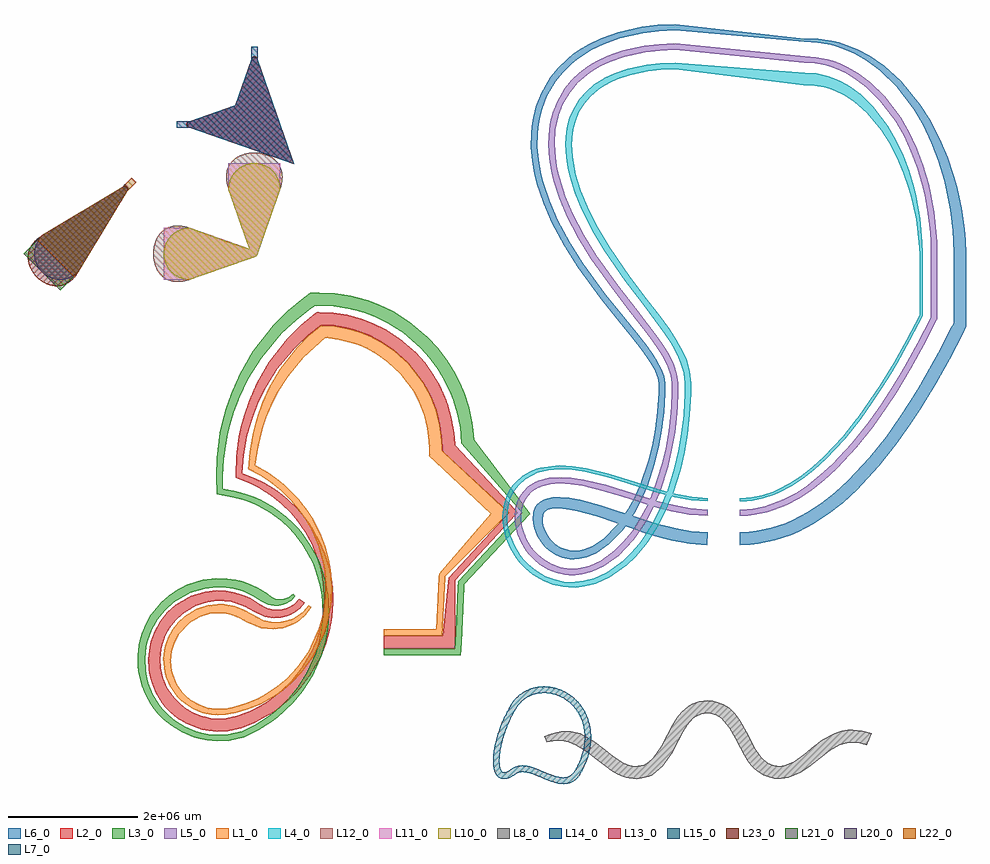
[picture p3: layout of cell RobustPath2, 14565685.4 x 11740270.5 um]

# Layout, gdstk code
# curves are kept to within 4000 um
import gdstk
lib = gdstk.Library(unit=1e-6, precision=1e-07)
def P(c, l, *ps):  # polygons
    for p in ps: c.add(gdstk.Polygon(p, *l))
L1_0 = (1, 0)
L2_0 = (2, 0)
L3_0 = (3, 0)
L4_0 = (4, 0)
L5_0 = (5, 0)
L6_0 = (6, 0)
L7_0 = (7, 0)
L8_0 = (8, 0)
L10_0 = (10, 0)
L11_0 = (11, 0)
L12_0 = (12, 0)
L13_0 = (13, 0)
L14_0 = (14, 0)
L15_0 = (15, 0)
L20_0 = (20, 0)
L21_0 = (21, 0)
L22_0 = (22, 0)
L23_0 = (23, 0)

robustpath2 = lib.new_cell('RobustPath2')
P(robustpath2, L1_0, [(-1161786,567427.8),(-1247763.8,471561.8),(-1351550.6,395357.3),(-1408772.1,365671.4),(-1484095.1,337105.4),(-1582381.6,315394.9),(-1708039.6,310864.1),(-1862214.5,340618.2),(-2036608.8,430085.3),(-2160695.3,503086),(-2298094.7,555541.9),(-2369536,572886.6),(-2460396,585996.4),(-2574958.1,588826.7),(-2716862.1,571205.7),(-2886750.3,517002),(-3077290,402664.9),(-3178920.2,308058.1),(-3263958.9,198557),(-3330262.4,77029.4),(-3376176.5,-53355),(-3391114.8,-120815.8),(-3404512.1,-258087.5),(-3395762.5,-395527.5),(-3359832.2,-545938.4),(-3305689.1,-672091.8),(-3232149.3,-787770.7),(-3188698.4,-840746.9),(-3128683.2,-901727.6),(-3045679.8,-968889.5),(-2933821.3,-1037448.8),(-2812815.4,-1087954.3),(-2749752.8,-1106060),(-2669269.6,-1121766.4),(-2567152.9,-1130380.4),(-2439267.5,-1123780.6),(-2283192.9,-1088682.4),(-2100143.4,-1036270.6),(-1918093.1,-962758.5),(-1721994.2,-856770.4),(-1592753,-769174.2),(-1440874.2,-644317.7),(-1268713.4,-465785.8),(-1085818.6,-211143.7),(-915721.3,147908.2),(-857718.4,340625.8),(-818977.5,539718.9),(-807054.9,641054.3),(-798448.6,846056.4),(-810471.3,1052459.5),(-848884.7,1283739.4),(-905114.4,1486165.1),(-981863.3,1683421.1),(-1092129.6,1896556.4),(-1183107.3,2037624.9),(-1316013.1,2208182.1),(-1466378.9,2365743.6),(-1654811.1,2525240.1),(-1796615.2,2623737),(-1985144.7,2731465),(-1948532.1,2978980.8),(-1897311.6,3216574.9),(-1863889.5,3333283.2),(-1814933.3,3476756.3),(-1742765,3651707.5),(-1635961.3,3862358.3),(-1477785.1,4110908.1),(-1244378.1,4394498.3),(-903366.6,4699560.7),(-693827.3,4672201.6),(-484086.3,4619825),(-382137,4583744.1),(-258264,4529649.5),(-110106.1,4448478.1),(62569.8,4327006.2),(255080.5,4146635.5),(452741.7,3882916.6),(548942.2,3700555.5),(622358.8,3507889.8),(671911.5,3307753.2),(696871.4,3103089.9),(700050.5,2869602.5),(1653397.2,1981365.6),(852882.7,1058904),(809937.5,200000),(0,200000),(0,100000),(905062.5,100000),(951158.1,1021912.3),(1928038.7,1998835.9),(900017.3,2956647.6),(896336.6,3117930.5),(867113.9,3351974.2),(809118.8,3580593.9),(723245,3800266.6),(610815.9,4007607.2),(380162.7,4305814.3),(156005.7,4507863),(-44614.5,4642327.2),(-216389.5,4730882.6),(-359735,4788871.4),(-573351.6,4851478.1),(-768242.6,4885812.4),(-966834.6,4899539.3),(-1164827.5,4731921.2),(-1346730.6,4547563.6),(-1600856.4,4221641.6),(-1768572.9,3937500.8),(-1878424,3697982.3),(-1950101.2,3500049.1),(-1996812.3,3338447.3),(-2027272.1,3207493.7),(-2069538.3,2942367.9),(-2091021.1,2671915.6),(-1905080.4,2573174.4),(-1764853.9,2481850.1),(-1577950.9,2332609.2),(-1428238.4,2184048.9),(-1295352,2022346.9),(-1203967.6,1888073.7),(-1092496.3,1684504.8),(-1014092.4,1495509.2),(-955687.1,1301091.8),(-914237.6,1078495.4),(-899020.7,879501.9),(-903991.6,681602.1),(-938002.7,438846.5),(-1001782.4,204771.9),(-1161505.9,-142821.8),(-1335139,-389400.3),(-1499327.7,-562232.5),(-1644496.5,-683035),(-1768172.3,-767725.3),(-1955972.8,-870077.3),(-2130391.3,-940923.2),(-2314195.4,-993609.6),(-2451929.4,-1024585.4),(-2564769.4,-1030408.8),(-2654872.5,-1022808.2),(-2725887,-1008949.7),(-2862273.2,-961089.2),(-2986961.7,-887944),(-3058973.4,-827265.9),(-3110662.2,-772605),(-3196199.5,-649348.6),(-3255268.2,-511786.4),(-3274124.9,-439373.2),(-3289610.7,-290952.6),(-3275171.2,-142749.2),(-3231516,-723.1),(-3160526.8,129440),(-2997878.1,300345.9),(-2834391.7,394071.8),(-2690100.1,436954.3),(-2570487,449384.1),(-2474493.4,445088.4),(-2398723.1,432601.6),(-2339377.6,416927.5),(-2225848,370960.9),(-2118833.2,304629.5),(-1896355.9,215181.5),(-1709621.4,196875),(-1563504.9,215971),(-1453004.5,251623.8),(-1370712.6,292173),(-1309720.4,331648),(-1203053.2,427025.5),(-1119893.5,540132.8)])
P(robustpath2, L2_0, [(-2408000,-1372000),(-2206000,-1326000),(-1997000,-1244000),(-1798000,-1139000),(-1589000,-997000),(-1456000,-884000),(-1302000,-728000),(-1135000,-512000),(-969000,-215000),(-890000,-17000),(-832000,187000),(-795000,396000),(-780000,608000),(-781000,716000),(-930000,716000),(-931000,630000),(-947000,433000),(-984000,238000),(-1040000,49000),(-1115000,-133000),(-1273000,-406000),(-1430000,-603000),(-1574000,-744000),(-1699000,-845000),(-1804000,-919000),(-1892000,-972000),(-2075000,-1064000),(-2268000,-1136000),(-2433000,-1173000),(-2568000,-1180000),(-2676000,-1171000),(-2762000,-1155000),(-2828000,-1135000),(-2957000,-1082000),(-3075000,-1009000),(-3163000,-938000),(-3272000,-818000),(-3350000,-695000),(-3407000,-561000),(-3432000,-474000),(-3445000,-402000),(-3454000,-257000),(-3440000,-112000),(-3424000,-40000),(-3376000,98000),(-3306000,226000),(-3216000,342000),(-3108000,442000),(-2906000,563000),(-2727000,620000),(-2577000,639000),(-2455000,636000),(-2359000,622000),(-2284000,603000),(-2139000,548000),(-2004000,469000),(-1842000,392000),(-1702000,370000),(-1589000,377000),(-1501000,400000),(-1435000,427000),(-1385000,455000),(-1295000,526000),(-1222000,612000),(-1303000,671000),(-1385000,590000),(-1483000,533000),(-1537000,515000),(-1606000,502000),(-1694000,501000),(-1800000,525000),(-2071000,685000),(-2149000,716000),(-2972000,716000),(-3212000,577000),(-3342000,460000),(-3452000,324000),(-3538000,172000),(-3599000,8000),(-3619000,-78000),(-3639000,-252000),(-3631000,-427000),(-3616000,-514000),(-3588000,-620000),(-3521000,-783000),(-3429000,-934000),(-3374000,-1003000),(-3298000,-1083000),(-3192000,-1171000),(-3048000,-1260000),(-2891000,-1325000),(-2809000,-1349000),(-2705000,-1369000),(-2573000,-1380000)],
  [(1100000,716000),(971000,716000),(910000,100000),(0,100000),(0,-100000),(1100000,-100000)],
  [(1100000,961000),(2068000,2000000),(1100000,3040000),(1082000,3274000),(1045000,3479000),(987000,3679000),(951000,3777000),(864000,3967000),(759000,4147000),(637000,4316000),(498000,4471000),(247000,4690000),(22000,4834000),(-169000,4929000),(-329000,4990000),(-566000,5055000),(-782000,5089000),(-1033000,5100000),(-1283000,4895000),(-1489000,4688000),(-1775000,4321000),(-1961000,4000000),(-2081000,3729000),(-2158000,3505000),(-2207000,3322000),(-2238000,3174000),(-2277000,2874000),(-2286000,2537000),(-2070000,2454000),(-1930000,2384000),(-1739000,2263000),(-1583000,2139000),(-1440000,1999000),(-1340000,1880000),(-1212000,1696000),(-1117000,1520000),(-1041000,1337000),(-978000,1122000),(-944000,927000),(-930000,716000),(-781000,716000),(-798000,925000),(-836000,1133000),(-864000,1235000),(-905000,1361000),(-987000,1555000),(-1089000,1740000),(-1225000,1934000),(-1332000,2059000),(-1483000,2206000),(-1648000,2336000),(-1848000,2461000),(-1995000,2534000),(-2186000,2609000),(-2164000,2892000),(-2114000,3171000),(-2080000,3308000),(-2027000,3477000),(-1948000,3683000),(-1827000,3930000),(-1644000,4222000),(-1371000,4551000),(-1177000,4735000),(-968000,4900000),(-772000,4886000),(-576000,4852000),(-362000,4790000),(-219000,4732000),(-47000,4644000),(154000,4509000),(379000,4307000),(610000,4009000),(723000,3801000),(809000,3581000),(867000,3352000),(896000,3118000),(900000,2957000),(1929000,1998000),(999000,999000),(971000,716000),(1100000,716000)],
  [(-2239000,752000),(-2327000,775000),(-2440000,793000),(-2582000,799000),(-2759000,780000),(-2972000,716000),(-2149000,716000)])
P(robustpath2, L3_0, [(-2389000,-1521000),(-2159000,-1469000),(-1938000,-1360000),(-1735000,-1231000),(-1640000,-1159000),(-1527000,-1062000),(-1397000,-932000),(-1253000,-755000),(-1101000,-518000),(-959000,-200000),(-899000,6000),(-861000,215000),(-845000,425000),(-851000,633000),(-862000,736000),(-883000,849000),(-985000,849000),(-961000,723000),(-951000,625000),(-945000,427000),(-960000,228000),(-997000,29000),(-1054000,-167000),(-1188000,-470000),(-1333000,-696000),(-1471000,-864000),(-1595000,-988000),(-1793000,-1150000),(-1987000,-1273000),(-2190000,-1374000),(-2401000,-1421000),(-2574000,-1430000),(-2712000,-1419000),(-2821000,-1397000),(-2907000,-1373000),(-3070000,-1305000),(-3222000,-1212000),(-3332000,-1119000),(-3412000,-1036000),(-3469000,-963000),(-3566000,-806000),(-3636000,-636000),(-3665000,-525000),(-3680000,-434000),(-3689000,-251000),(-3668000,-68000),(-3647000,21000),(-3583000,193000),(-3493000,352000),(-3379000,494000),(-3243000,616000),(-2991000,762000),(-2768000,829000),(-2583000,849000),(-3114000,849000),(-3188000,811000),(-3323000,719000),(-3444000,610000),(-3550000,487000),(-3597000,421000),(-3677000,280000),(-3739000,130000),(-3784000,-46000),(-3803000,-207000),(-3801000,-369000),(-3774000,-549000),(-3740000,-670000),(-3679000,-820000),(-3600000,-960000),(-3490000,-1104000),(-3402000,-1194000),(-3280000,-1293000),(-3116000,-1394000),(-2938000,-1468000),(-2845000,-1495000),(-2727000,-1518000),(-2577000,-1530000)],
  [(-1620000,563000),(-1561000,575000),(-1515000,592000),(-1432000,643000),(-1365000,713000),(-1403000,746000),(-1469000,698000),(-1542000,670000),(-1624000,664000),(-1678000,673000),(-1737000,699000),(-1793000,747000),(-1961000,849000),(-2583000,849000),(-2435000,843000),(-2317000,824000),(-2225000,800000),(-2153000,776000),(-2015000,712000),(-1893000,636000),(-1789000,580000),(-1696000,561000)],
  [(1200000,-2000),(1243000,849000),(1143000,849000),(1100000,2000),(1095000,-100000),(0,-100000),(0,-200000),(1190000,-200000)],
  [(1245000,896000),(2259000,1985000),(1396000,3131000),(1368000,3392000),(1319000,3619000),(1248000,3841000),(1204000,3949000),(1102000,4158000),(980000,4356000),(839000,4542000),(681000,4713000),(396000,4952000),(144000,5110000),(-71000,5213000),(-250000,5280000),(-396000,5323000),(-515000,5350000),(-756000,5388000),(-1000000,5400000),(-1133000,5400000),(-1235000,5324000),(-1482000,5120000),(-1708000,4894000),(-2022000,4491000),(-2227000,4139000),(-2359000,3842000),(-2444000,3596000),(-2498000,3395000),(-2532000,3233000),(-2553000,3102000),(-2580000,2838000),(-2587000,2573000),(-2582000,2287000),(-2339000,2239000),(-2176000,2197000),(-2048000,2152000),(-1948000,2108000),(-1755000,2000000),(-1575000,1865000),(-1471000,1768000),(-1393000,1684000),(-1252000,1500000),(-1135000,1297000),(-1086000,1188000),(-1052000,1099000),(-997000,914000),(-985000,849000),(-883000,849000),(-900000,938000),(-957000,1133000),(-1045000,1341000),(-1142000,1514000),(-1255000,1675000),(-1400000,1839000),(-1510000,1941000),(-1701000,2083000),(-1905000,2198000),(-2011000,2245000),(-2147000,2293000),(-2319000,2337000),(-2490000,2371000),(-2487000,2573000),(-2472000,2829000),(-2438000,3083000),(-2375000,3365000),(-2317000,3556000),(-2228000,3789000),(-2093000,4069000),(-1887000,4398000),(-1577000,4770000),(-1356000,4977000),(-1063000,5200000),(-773000,5188000),(-549000,5153000),(-303000,5087000),(-137000,5024000),(62000,4926000),(296000,4778000),(559000,4552000),(704000,4392000),(832000,4218000),(943000,4032000),(1035000,3836000),(1074000,3734000),(1136000,3527000),(1177000,3315000),(1199000,3072000),(2134000,1997000),(1147000,938000),(1143000,849000),(1243000,849000)],
  [(-2102000,912000),(-2184000,939000),(-2288000,965000),(-2421000,984000),(-2588000,989000),(-2795000,963000),(-3043000,885000),(-3114000,849000),(-1961000,849000)])
P(robustpath2, L4_0, [(3101000,861000),(3276000,906000),(3493000,1004000),(3756000,1191000),(3888000,1317000),(4015000,1464000),(4076000,1545000),(4150000,1652000),(4239000,1799000),(4342000,1999000),(4450000,2252000),(4750000,2193000),(5000000,2175000),(5000000,2225000),(4757000,2244000),(4468000,2302000),(4584000,2664000),(4646000,2931000),(4695000,3215000),(4721000,3444000),(4622000,3444000),(4598000,3229000),(4551000,2950000),(4490000,2689000),(4376000,2326000),(4218000,2370000),(3476000,2603000),(3123000,2690000),(2914000,2722000),(2715000,2733000),(2420000,2697000),(2269000,2643000),(2147000,2573000),(2042000,2482000),(1997000,2431000),(1948000,2361000),(1899000,2266000),(1857000,2138000),(1836000,2005000),(1833000,1938000),(1906000,1938000),(1920000,2092000),(1964000,2239000),(2008000,2324000),(2051000,2388000),(2092000,2435000),(2186000,2518000),(2297000,2583000),(2373000,2614000),(2537000,2655000),(2716000,2670000),(2907000,2661000),(3111000,2631000),(3460000,2547000),(4357000,2275000),(4257000,2039000),(4157000,1844000),(4001000,1598000),(3943000,1521000),(3822000,1380000),(3696000,1259000),(3449000,1081000),(3247000,989000),(3086000,946000),(2959000,931000),(2859000,930000),(2782000,937000),(2633000,969000),(2496000,1022000),(2344000,1111000),(2238000,1199000),(2163000,1277000),(2110000,1344000),(2021000,1488000),(1957000,1639000),(1925000,1761000),(1910000,1859000),(1906000,1938000),(1833000,1938000),(1851000,1747000),(1885000,1616000),(1953000,1453000),(2047000,1298000),(2103000,1226000),(2183000,1141000),(2297000,1046000),(2460000,948000),(2609000,889000),(2771000,854000),(2855000,846000),(2963000,845000)],
  [(5605000,2179000),(5690000,2189000),(5860000,2224000),(6032000,2281000),(6118000,2318000),(6294000,2410000),(6471000,2526000),(6651000,2666000),(6833000,2831000),(7127000,3146000),(7364000,3444000),(7301000,3444000),(7086000,3175000),(6796000,2865000),(6617000,2703000),(6441000,2566000),(6267000,2453000),(6096000,2363000),(6012000,2327000),(5846000,2272000),(5682000,2238000),(5500000,2225000),(5500000,2175000)],
  [(7555000,3712000),(7709000,3944000),(7930000,4309000),(8127000,4662000),(8325000,5041000),(8325000,6000000),(8320000,6181000),(8288000,6539000),(8227000,6887000),(8194000,7023000),(8116000,7285000),(8020000,7533000),(7910000,7764000),(7785000,7976000),(7561000,8271000),(7364000,8462000),(7198000,8585000),(7062000,8664000),(6951000,8713000),(6862000,8745000),(6683000,8787000),(4500000,8950000),(4272000,8941000),(4064000,8919000),(3770000,8858000),(3567000,8791000),(3425000,8725000),(3250000,8616000),(3123000,8506000),(3019000,8386000),(2923000,8226000),(2867000,8091000),(2836000,7977000),(2819000,7884000),(2805000,7690000),(2816000,7490000),(2841000,7330000),(2869000,7201000),(2950000,6940000),(3056000,6680000),(3218000,6359000),(3404000,6048000),(3730000,5579000),(4188000,4974000),(4330000,4776000),(4431000,4623000),(4501000,4501000),(4549000,4403000),(4582000,4325000),(4630000,4165000),(4650000,4000000),(4648000,3838000),(4622000,3444000),(4721000,3444000),(4747000,3835000),(4750000,4000000),(4728000,4186000),(4676000,4361000),(4640000,4445000),(4516000,4675000),(4413000,4833000),(3810000,5638000),(3489000,6102000),(3305000,6407000),(3147000,6721000),(3044000,6974000),(2966000,7225000),(2939000,7349000),(2916000,7501000),(2905000,7690000),(2918000,7870000),(2934000,7956000),(2962000,8059000),(3013000,8183000),(3100000,8326000),(3193000,8435000),(3310000,8536000),(3378000,8582000),(3472000,8637000),(3605000,8698000),(3796000,8762000),(4078000,8820000),(4280000,8841000),(4500000,8850000),(6490000,8600000),(6653000,8599000),(6807000,8574000),(6885000,8552000),(6984000,8514000),(7109000,8452000),(7265000,8348000),(7456000,8181000),(7680000,7912000),(7808000,7713000),(7924000,7494000),(8026000,7256000),(8112000,7003000),(8148000,6871000),(8221000,6530000),(8264000,6178000),(8275000,5999000),(8275000,5053000),(8078000,4676000),(7784000,4161000),(7510000,3734000),(7301000,3444000),(7364000,3444000)])
P(robustpath2, L5_0, [(3067000,1051000),(3212000,1089000),(3397000,1173000),(3627000,1338000),(3861000,1585000),(3917000,1659000),(4067000,1895000),(4170000,2096000),(4442000,2023000),(4719000,1971000),(5000000,1950000),(5000000,2050000),(4732000,2070000),(4465000,2121000),(4209000,2189000),(4275000,2345000),(4392000,2715000),(4451000,2970000),(4498000,3243000),(4531000,3534000),(4538000,3656000),(4437000,3656000),(4431000,3542000),(4399000,3257000),(4353000,2990000),(4295000,2741000),(4181000,2380000),(4113000,2218000),(3427000,2430000),(3089000,2513000),(2895000,2542000),(2717000,2552000),(2555000,2539000),(2411000,2503000),(2347000,2477000),(2233000,2407000),(2142000,2317000),(2106000,2264000),(2070000,2194000),(2032000,2070000),(2020000,1938000),(2120000,1938000),(2131000,2051000),(2162000,2154000),(2221000,2255000),(2295000,2329000),(2389000,2387000),(2444000,2409000),(2570000,2440000),(2718000,2452000),(2885000,2443000),(3070000,2415000),(3400000,2334000),(4074000,2125000),(3980000,1944000),(3836000,1718000),(3701000,1550000),(3562000,1413000),(3348000,1260000),(3180000,1184000),(3049000,1149000),(2948000,1138000),(2870000,1138000),(2722000,1160000),(2586000,1210000),(2467000,1281000),(2383000,1351000),(2280000,1468000),(2209000,1584000),(2159000,1706000),(2133000,1802000),(2120000,1938000),(2020000,1938000),(2035000,1783000),(2064000,1674000),(2120000,1538000),(2200000,1409000),(2247000,1349000),(2314000,1279000),(2409000,1200000),(2543000,1120000),(2665000,1072000),(2796000,1044000),(2865000,1038000),(2953000,1038000)],
  [(5624000,1955000),(5723000,1966000),(5921000,2007000),(6119000,2074000),(6217000,2116000),(6413000,2220000),(6609000,2348000),(6804000,2501000),(6999000,2679000),(7309000,3013000),(7557000,3326000),(7788000,3656000),(7668000,3656000),(7473000,3381000),(7230000,3074000),(6927000,2748000),(6737000,2576000),(6549000,2428000),(6361000,2305000),(6174000,2206000),(6080000,2166000),(5894000,2104000),(5709000,2065000),(5500000,2050000),(5500000,1950000)],
  [(7913000,3847000),(8141000,4224000),(8343000,4587000),(8550000,4988000),(8550000,6000000),(8537000,6342000),(8504000,6643000),(8451000,6938000),(8417000,7082000),(8335000,7361000),(8235000,7627000),(8117000,7877000),(7983000,8108000),(7737000,8433000),(7517000,8649000),(7328000,8791000),(7170000,8883000),(7040000,8943000),(6848000,9006000),(6675000,9039000),(6505000,9050000),(4499000,9250000),(4253000,9238000),(4025000,9212000),(3695000,9142000),(3462000,9061000),(3295000,8982000),(3173000,8910000),(3017000,8794000),(2898000,8679000),(2796000,8555000),(2676000,8352000),(2609000,8181000),(2572000,8040000),(2552000,7926000),(2538000,7696000),(2553000,7465000),(2583000,7284000),(2617000,7141000),(2708000,6857000),(2826000,6579000),(3002000,6242000),(3200000,5920000),(3541000,5443000),(4150000,4656000),(4248000,4513000),(4358000,4320000),(4388000,4254000),(4431000,4125000),(4450000,4000000),(4437000,3656000),(4538000,3656000),(4548000,3841000),(4550000,4000000),(4528000,4148000),(4480000,4292000),(4448000,4363000),(4332000,4567000),(4232000,4714000),(3620000,5504000),(3284000,5975000),(3088000,6292000),(2916000,6621000),(2802000,6892000),(2714000,7166000),(2681000,7304000),(2653000,7477000),(2638000,7697000),(2651000,7913000),(2669000,8020000),(2704000,8151000),(2766000,8309000),(2877000,8497000),(2997000,8639000),(3144000,8768000),(3342000,8894000),(3500000,8969000),(3722000,9045000),(4040000,9113000),(4261000,9139000),(4501000,9150000),(6495000,8950000),(6662000,8940000),(6823000,8909000),(7002000,8850000),(7124000,8794000),(7273000,8707000),(7452000,8573000),(7662000,8367000),(7899000,8054000),(8028000,7830000),(8143000,7588000),(8240000,7329000),(8320000,7057000),(8353000,6916000),(8405000,6629000),(8437000,6335000),(8450000,6000000),(8450000,5012000),(8250000,4625000),(8049000,4266000),(7824000,3894000),(7668000,3656000),(7788000,3656000)])
P(robustpath2, L6_0, [(3021000,1288000),(3132000,1314000),(3280000,1377000),(3475000,1510000),(3683000,1723000),(3735000,1790000),(4193000,1640000),(4464000,1569000),(4722000,1522000),(4998000,1500000),(5002000,1700000),(4748000,1718000),(4506000,1760000),(4246000,1825000),(3843000,1952000),(3967000,2175000),(4073000,2419000),(4188000,2768000),(4247000,3011000),(4294000,3272000),(4328000,3550000),(4349000,3923000),(4248000,3923000),(4226000,3560000),(4191000,3287000),(4143000,3033000),(4085000,2797000),(3971000,2459000),(3867000,2225000),(3732000,1989000),(3341000,2117000),(3031000,2200000),(2865000,2229000),(2723000,2241000),(2607000,2236000),(2482000,2208000),(2413000,2172000),(2361000,2122000),(2339000,2089000),(2309000,2004000),(2300000,1902000),(2453000,1902000),(2461000,1969000),(2477000,2010000),(2539000,2051000),(2624000,2066000),(2717000,2067000),(2869000,2050000),(2992000,2025000),(3286000,1942000),(3619000,1830000),(3399000,1602000),(3223000,1486000),(3095000,1434000),(3004000,1415000),(2937000,1411000),(2887000,1414000),(2715000,1470000),(2644000,1519000),(2593000,1567000),(2558000,1610000),(2501000,1704000),(2466000,1802000),(2453000,1902000),(2300000,1902000),(2322000,1764000),(2370000,1640000),(2445000,1523000),(2491000,1470000),(2557000,1411000),(2650000,1350000),(2756000,1306000),(2874000,1284000)],
  [(5660000,1506000),(5787000,1521000),(6039000,1573000),(6286000,1656000),(6406000,1708000),(6643000,1833000),(6872000,1983000),(7095000,2158000),(7313000,2357000),(7653000,2723000),(7918000,3058000),(8127000,3353000),(8293000,3606000),(8485000,3923000),(8254000,3923000),(7962000,3465000),(7758000,3177000),(7500000,2852000),(7174000,2500000),(6966000,2311000),(6755000,2145000),(6541000,2005000),(6322000,1889000),(6211000,1841000),(5987000,1766000),(5759000,1719000),(5644000,1706000),(5500000,1700000),(5500000,1500000)],
  [(8530000,3999000),(8739000,4375000),(9000000,4882000),(9000000,6002000),(8989000,6211000),(8973000,6377000),(8926000,6706000),(8856000,7027000),(8813000,7184000),(8712000,7489000),(8591000,7779000),(8449000,8052000),(8289000,8306000),(7995000,8665000),(7731000,8904000),(7503000,9060000),(7311000,9161000),(7153000,9225000),(7024000,9266000),(6920000,9291000),(6710000,9321000),(6502000,9325000),(4499000,9550000),(4234000,9536000),(3986000,9506000),(3620000,9425000),(3357000,9331000),(3164000,9239000),(3022000,9154000),(2838000,9014000),(2695000,8876000),(2574000,8725000),(2430000,8478000),(2350000,8271000),(2307000,8104000),(2285000,7969000),(2275000,7862000),(2272000,7649000),(2291000,7439000),(2326000,7238000),(2365000,7081000),(2467000,6773000),(2596000,6478000),(2785000,6125000),(2996000,5793000),(3352000,5307000),(3830000,4714000),(4065000,4404000),(4168000,4235000),(4232000,4083000),(4250000,4001000),(4248000,3923000),(4349000,3923000),(4350000,3999000),(4328000,4112000),(4285000,4223000),(4212000,4359000),(4050000,4595000),(3430000,5369000),(3078000,5849000),(2871000,6176000),(2686000,6521000),(2560000,6809000),(2461000,7107000),(2424000,7259000),(2390000,7452000),(2372000,7653000),(2375000,7855000),(2384000,7957000),(2405000,8084000),(2445000,8242000),(2520000,8436000),(2655000,8667000),(2769000,8808000),(2903000,8939000),(2978000,8999000),(3077000,9070000),(3212000,9151000),(3396000,9239000),(3648000,9329000),(4001000,9407000),(4243000,9436000),(4501000,9450000),(6498000,9275000),(6704000,9263000),(6905000,9226000),(7127000,9155000),(7276000,9088000),(7456000,8984000),(7669000,8826000),(7914000,8589000),(8184000,8235000),(8330000,7987000),(8457000,7719000),(8566000,7436000),(8654000,7140000),(8691000,6988000),(8748000,6677000),(8785000,6359000),(8795000,6199000),(8800000,5998000),(8800000,4929000),(8563000,4469000),(8254000,3923000),(8485000,3923000)])
P(robustpath2, L7_0, [(1956692.8,-975010.2),(1872847.5,-1134468.7),(1799740.8,-1305418.3),(1743731.7,-1473898.7),(1708287.3,-1622199.4),(1688152.2,-1775436.5),(1689271.5,-1896549.8),(1709001.8,-1991609.8),(1726664,-2031076.1),(1749851.5,-2063807.3),(1777636.4,-2088298.9),(1809248.5,-2104374.3),(1842723.4,-2111878.8),(1883346.1,-2110851.6),(1957143,-2086489.7),(2076303.3,-2014683.3),(2120755.5,-2005260),(2176100.8,-2006457.5),(2306885.1,-2040328.6),(2604716.2,-2158453.7),(2689040,-2181063),(2762641.8,-2190037.9),(2816327.2,-2187859.1),(2874596.7,-2174574.6),(2924559.2,-2151469),(2969123.4,-2118679.9),(3010338.7,-2074275.2),(3043281.5,-2025034.1),(3089150.9,-1937911.3),(3132895.9,-1834354.5),(3181227.9,-1664640.9),(3201051.5,-1498678.7),(3192448.9,-1335772.8),(3156043.2,-1185693.9),(3093645.9,-1049898),(3008087.3,-931063.9),(2948518.2,-870403.1),(2886676.3,-820056),(2826821.8,-780867.1),(2753658.5,-743404.3),(2688082.8,-718227.4),(2607949.3,-697080.3),(2522830.4,-685425.2),(2447797.8,-684165.4),(2361002.5,-693543.3),(2293466.4,-709509.4),(2230494.8,-732101.5),(2162140.3,-766525.6),(2101942.8,-807431.6),(2050062.6,-853150.2),(1997359,-913607.6),(1956712.5,-974976.1),(2043287.5,-1025023.9),(2081159.8,-968656.8),(2120640.4,-923993.5),(2176530.6,-876473.6),(2235673.3,-840079.7),(2299822.3,-812498),(2368190,-793943.3),(2440615.7,-784645.9),(2515538.8,-785159),(2645728.3,-809695.1),(2765713.8,-861095.9),(2871824.8,-936003.5),(2965198.2,-1036858.3),(3007283.1,-1100311),(3039847.7,-1163681.9),(3084492.5,-1300343.3),(3101493.6,-1448448.8),(3088499.7,-1616429.4),(3068669.9,-1706749.7),(3039076,-1799744.8),(2998905.4,-1894832.8),(2947716.2,-1989764.1),(2914956,-2032018.5),(2874640.8,-2064804.2),(2835143.7,-2082227),(2783481.3,-2090156.8),(2722869.6,-2085600.5),(2646362.2,-2066786.6),(2325730.3,-1940945.5),(2253509.3,-1919337.6),(2181562.8,-1906456.2),(2106792.1,-1906154.7),(2043106,-1920354.4),(1998708.8,-1940803.3),(1920174,-1993010.1),(1877616.7,-2010227.1),(1844571.5,-2010755.1),(1820078.8,-1991806.4),(1795517.4,-1930521.4),(1786310.6,-1837452.1),(1793474,-1723401),(1817312.9,-1589389.8),(1854689.1,-1451937.2),(1908842.2,-1301003.8),(1977975.7,-1146936.9),(2043307.2,-1024989.8)])
P(robustpath2, L8_0, [(7537521.7,-1407306.3),(7392346.7,-1364635),(7242968.5,-1351326.6),(7168083.4,-1355686.1),(7075380.4,-1371461.7),(6962478.3,-1407306.3),(6775957.8,-1509354.4),(6443050.1,-1769123),(6331397.3,-1844563.7),(6196966.9,-1902092.3),(6113327.6,-1913381.3),(6023633.5,-1902832.8),(5938077.5,-1868444.8),(5863763.3,-1811591.1),(5787823.6,-1721344.1),(5738728.7,-1644703.6),(5505158.1,-1211854.3),(5427982.8,-1106494.3),(5333530.3,-1014195.7),(5242051.1,-955477.4),(5135636,-916035.1),(5077277.4,-904993.3),(5000079,-900000),(4873074.2,-913952.8),(4760713.5,-954093.3),(4653884.2,-1024448.6),(4591389.7,-1084505.6),(4524326.3,-1168143.3),(4453087.3,-1281033.5),(4284670.6,-1603609.3),(4162957.2,-1783763.8),(4094886.3,-1846746.3),(4019100.1,-1889238.6),(3976223.3,-1902867.8),(3882530,-1913304.8),(3794980.3,-1899944.3),(3696177.4,-1859827.2),(3625806.2,-1817958.1),(3535558.6,-1752793.4),(3261775,-1535769.8),(3037578.9,-1407329.5),(2889968.1,-1377212.1),(2743203.4,-1376925.5),(2671504.9,-1387502.7),(2584499.5,-1410408.4),(2481239.2,-1453653.1),(2518760.8,-1546346.9),(2611856.7,-1527248.3),(2744569,-1525719.2),(2857559.7,-1548574.4),(2962421.1,-1592670.5),(3144774,-1697975.8),(3413195.4,-1910993.4),(3515727.6,-1984939.3),(3603292.6,-2036949.8),(3741426.9,-2092641.1),(3794443,-2104766.4),(3906196.3,-2113189.3),(4023776.7,-2097132.2),(4144111.8,-2051505),(4312134.8,-1916978.1),(4459752.7,-1700285.4),(4626827.1,-1380101.6),(4687425.2,-1283896.3),(4738863.8,-1219603.3),(4782318.8,-1177760.5),(4818889.5,-1150735.2),(4899803.9,-1113591.2),(4999921,-1100000),(5050970.4,-1103255.6),(5136684.1,-1126849.9),(5209370.6,-1170989.8),(5336910,-1319986.5),(5566389.7,-1746189),(5624404.3,-1836644.4),(5724945,-1955568.5),(5767101.8,-1992803.9),(5863475.7,-2055436.1),(5976366.5,-2097167.2),(6032886.2,-2108035.5),(6142768.7,-2112357.7),(6246476.9,-2095867.3),(6431964.5,-2017440),(6563318.7,-1928921.2),(6888175,-1674905.8),(7037521.7,-1592693.7),(7120975.8,-1566195),(7244803.9,-1551318.1),(7355181.1,-1561151.5),(7462478.3,-1592693.7)])
P(robustpath2, L10_0, [(-2000000,5950000),(-1963000,5963000),(-1884000,6190000),(-2117000,6190000),(-2077000,6077000),(-2400000,6190000),(-3352000,6190000),(-3386000,6106000),(-3400000,6017000),(-3397000,5949000),(-3381000,5877000),(-3344000,5795000),(-3293000,5727000),(-3238000,5678000),(-3160000,5633000),(-3090000,5610000),(-3017000,5600000),(-3000000,5600000)],
  [(-1600000,7000000),(-1614000,7106000),(-1651000,7195000),(-2349000,7195000),(-2386000,7106000),(-2400000,7000000),(-2117000,6190000),(-1884000,6190000)],
  [(-3000000,6400000),(-3106000,6386000),(-3205000,6344000),(-3256000,6308000),(-3293000,6273000),(-3352000,6190000),(-2400000,6190000)],
  [(-1654000,7200000),(-1707000,7273000),(-1744000,7308000),(-1795000,7344000),(-1894000,7386000),(-1966000,7399000),(-2017000,7400000),(-2123000,7381000),(-2215000,7338000),(-2293000,7273000),(-2349000,7195000),(-1651000,7195000)])
P(robustpath2, L11_0, [(-1600000,7400000),(-2400000,7400000),(-2400000,7000000),(-2076923.1,6076923.1),(-3000000,6400000),(-3400000,6400000),(-3400000,5600000),(-3000000,5600000),(-2000000,5950000),(-1962963,5962963),(-1950000,6000000),(-1600000,7000000)])
P(robustpath2, L12_0, [(-3429000,6343000),(-3485000,6278000),(-3529000,6193000),(-3553000,6111000),(-3564000,6012000),(-3553000,5889000),(-3529000,5807000),(-3493000,5734000),(-3429000,5657000)],
  [(-3173000,6435000),(-3263000,6428000),(-3330000,6408000),(-3378000,6383000),(-3429000,6343000),(-3429000,5657000),(-3378000,5617000),(-3330000,5592000),(-3273000,5574000),(-3199000,5565000),(-3173000,5565000)],
  [(-2404000,7338000),(-2426000,7273000),(-2435000,7199000),(-2434000,7155000),(-2428000,7105000),(-2414000,7043000),(-2404000,7013000)],
  [(-3170000,5566000),(-3105000,5572000),(-3026000,5591000),(-2404000,5809000),(-2404000,6191000),(-3026000,6409000),(-3105000,6428000),(-3173000,6435000)],
  [(-2000000,5950000),(-1963000,5963000),(-1763000,6534000),(-1763000,7509000),(-1871000,7549000),(-1988000,7564000),(-2050000,7562000),(-2129000,7549000),(-2245000,7505000),(-2295000,7473000),(-2341000,7432000),(-2373000,7393000),(-2404000,7338000),(-2402000,7004000),(-2077000,6077000),(-2404000,6191000),(-2404000,5809000)],
  [(-1600000,7000000),(-1575000,7089000),(-1566000,7155000),(-1567000,7230000),(-1577000,7285000),(-1605000,7357000),(-1641000,7412000),(-1691000,7462000),(-1763000,7509000),(-1763000,6534000)])
P(robustpath2, L13_0, [(-1950039.5,9001987.8),(-1960997.1,9031285.4),(-1989151.1,9048808.8),(-2022077.3,9044861.9),(-2045292,9021181),(-2296296.3,8296296.3),(-3019363.6,8046098.3),(-3045704.2,8020276.3),(-3047170.7,7983419),(-3035705.1,7964997.9),(-3017515.5,7953168.3),(-1384615.4,7384615.4)])
P(robustpath2, L14_0, [(-1950000,9200000),(-2050000,9200000),(-2050000,9000000),(-2296296.3,8296296.3),(-3000000,8050000),(-3200000,8050000),(-3200000,7950000),(-3000000,7950000),(-2000000,7600000),(-1384615.4,7384615.4),(-1600000,8000000),(-1950000,9000000)])
P(robustpath2, L15_0, [(-1950397.2,9001099.9),(-1967832.5,9024864.7),(-1996091.6,9035335.5),(-2026326.7,9028684.1),(-2047350.6,9006339.6),(-2296296.3,8296296.3),(-3003247.7,8048754.4),(-3030485.5,8022805.4),(-3032668,7982678.2),(-3020915.5,7963215.6),(-3001099.9,7950397.2),(-1384615.4,7384615.4)])
P(robustpath2, L20_0, [(-3960492.2,6969354.6),(-3950221.9,7004705.4),(-3962494.4,7033065.6),(-3995294.6,7049778.1),(-4025452.1,7043037.1),(-5282842.7,6282842.7),(-5338689.7,6212812.8),(-5371246,6148917.5),(-5391870.2,6080235.8),(-5399899.3,6008975.2),(-5391870.2,5919764.2),(-5371246,5851082.5),(-5338689.7,5787187.2),(-5295247.6,5730131.8),(-5242316,5681750.2),(-5181596.2,5643597.4),(-5097736.2,5612124.2),(-5026907.6,5600906),(-4955214.2,5602515.1),(-4867888.4,5622446.7),(-4802596.7,5652103.5),(-4730131.8,5704752.4),(-4717157.3,5717157.3)])
P(robustpath2, L21_0, [(-3929289.3,7000000),(-4000000,7070710.7),(-4035355.3,7035355.3),(-5282842.7,6282842.7),(-5565685.4,6000000),(-5000000,5434314.6),(-4717157.3,5717157.3),(-3964644.7,6964644.7)])
P(robustpath2, L22_0, [(-3823223.3,7106066),(-3893934,7176776.7),(-4035355.3,7035355.3),(-5282842.7,6282842.7),(-5353553.4,6212132),(-4787868,5646446.6),(-4717157.3,5717157.3),(-3964644.7,6964644.7)])
P(robustpath2, L23_0, [(-3962274.1,6968975.9),(-3957507.4,6999015.4),(-3972328,7027672),(-4000984.6,7042492.6),(-4031024.1,7037725.9),(-5282842.7,6282842.7),(-5379528.7,6210133.7),(-5432056.4,6150437.2),(-5468720.8,6087582),(-5490663.2,6022709.5),(-5499178.3,5945997.7),(-5491020.9,5869905.9),(-5468003.5,5796246.4),(-5431938.4,5726831.6),(-5377069.2,5655022.9),(-5310230.7,5593830.9),(-5244055.2,5551123.7),(-5162066,5517129.7),(-5086794.7,5502381.9),(-5010126.7,5503529.7),(-4944673.4,5518539.1),(-4870219.9,5554015.9),(-4809343.7,5601129),(-4761559.3,5653040.6),(-4717157.3,5717157.3)])

lib.write_gds('RobustPath2.gds')
